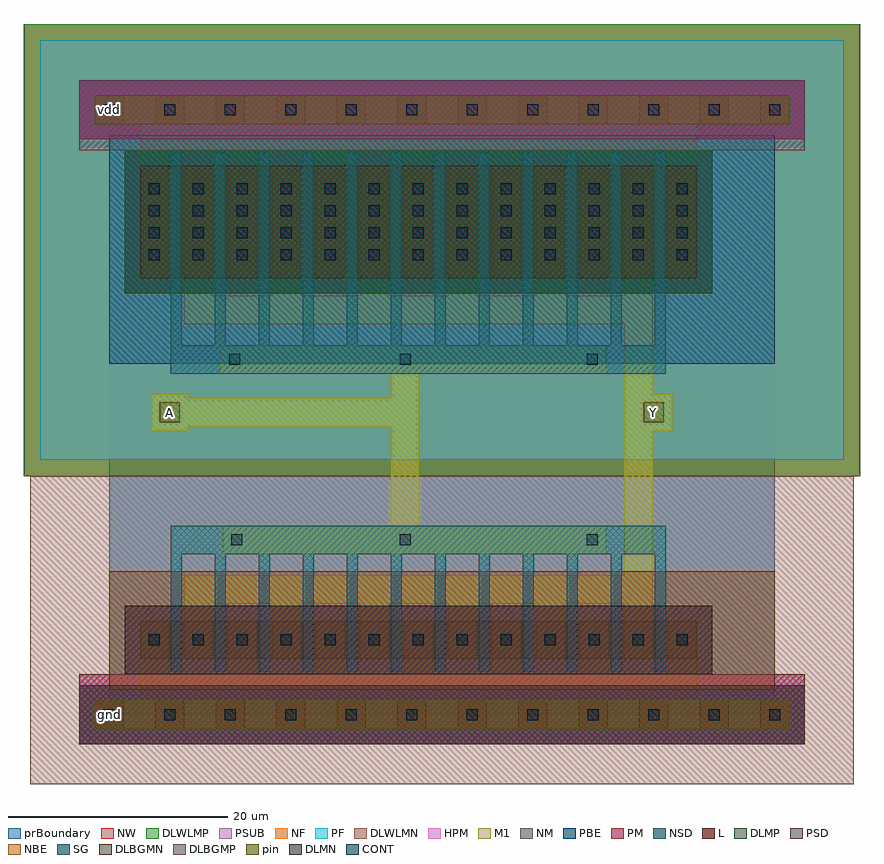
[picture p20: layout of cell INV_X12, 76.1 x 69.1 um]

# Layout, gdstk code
import gdstk
lib = gdstk.Library(unit=1e-6, precision=1e-09)
def R(c, l, rs):  # rectangles x0, y0, x1, y1
    for r in rs: c.add(gdstk.rectangle(r[:2], r[2:], *l))
def A(c, l, x, y, w, h, nx, ny, dx, dy):  # array of equal rectangles
    R(c, l, [(x+i*dx, y+j*dy, x+i*dx+w, y+j*dy+h) for i in range(nx) for j in range(ny)])
def P(c, l, *ps):  # polygons
    for p in ps: c.add(gdstk.Polygon(p, *l))
L = (3, 0)
NM = (7, 0)
SG = (8, 0)
PSD = (9, 0)
CONT = (11, 0)
M1 = (13, 0)
NF = (25, 0)
PF = (26, 0)
NSD = (28, 0)
HPM = (33, 0)
PM = (35, 0)
NW = (36, 0)
pin = (48, 1)
PSUB = (140, 0)
PBE = (146, 0)
NBE = (147, 0)
DLWLMP = (150, 0)
DLWLMN = (151, 0)
DLMP = (157, 0)
DLMN = (158, 0)
DLBGMP = (177, 0)
DLBGMN = (178, 0)
prBoundary = (235, 0)

inv_x12 = lib.new_cell('INV_X12')
A(inv_x12, L, -1.3, -1.3, 2.6, 2.6, 12, 2, 5.5, 55)
R(inv_x12, L, [(2.8,5.1,53.4,8.5), (2.8,39.7,53.4,49.9)])
R(inv_x12, NM, [(-2.75,-2.7,63.25,2.7)])
P(inv_x12, NM, [(1.4,38.3),(1.4,51.3),(-2.75,51.3),(-2.75,57.7),(63.25,57.7),(63.25,51.3),(54.8,51.3),(54.8,38.3)])
P(inv_x12, SG, [(5.6,3.9),(5.6,17.2),(50.6,17.2),(50.6,3.9),(49.6,3.9),(49.6,14.6),(46.6,14.6),(46.6,3.9),(45.6,3.9),(45.6,14.6),(42.6,14.6),(42.6,3.9),(41.6,3.9),(41.6,14.6),(38.6,14.6),(38.6,3.9),(37.6,3.9),(37.6,14.6),(34.6,14.6),(34.6,3.9),(33.6,3.9),(33.6,14.6),(30.6,14.6),(30.6,3.9),(29.6,3.9),(29.6,14.6),(26.6,14.6),(26.6,3.9),(25.6,3.9),(25.6,14.6),(22.6,14.6),(22.6,3.9),(21.6,3.9),(21.6,14.6),(18.6,14.6),(18.6,3.9),(17.6,3.9),(17.6,14.6),(14.6,14.6),(14.6,3.9),(13.6,3.9),(13.6,14.6),(10.6,14.6),(10.6,3.9),(9.6,3.9),(9.6,14.6),(6.6,14.6),(6.6,3.9)],
  [(5.6,31),(5.6,51.1),(6.6,51.1),(6.6,33.6),(9.6,33.6),(9.6,51.1),(10.6,51.1),(10.6,33.6),(13.6,33.6),(13.6,51.1),(14.6,51.1),(14.6,33.6),(17.6,33.6),(17.6,51.1),(18.6,51.1),(18.6,33.6),(21.6,33.6),(21.6,51.1),(22.6,51.1),(22.6,33.6),(25.6,33.6),(25.6,51.1),(26.6,51.1),(26.6,33.6),(29.6,33.6),(29.6,51.1),(30.6,51.1),(30.6,33.6),(33.6,33.6),(33.6,51.1),(34.6,51.1),(34.6,33.6),(37.6,33.6),(37.6,51.1),(38.6,51.1),(38.6,33.6),(41.6,33.6),(41.6,51.1),(42.6,51.1),(42.6,33.6),(45.6,33.6),(45.6,51.1),(46.6,51.1),(46.6,33.6),(49.6,33.6),(49.6,51.1),(50.6,51.1),(50.6,31)])
R(inv_x12, PSD, [(1.4,3.7,54.8,9.9), (-2.75,52.3,63.25,57.7)])
A(inv_x12, CONT, -0.5, -0.5, 1, 1, 12, 2, 5.5, 55)
A(inv_x12, CONT, 3.6, 6.3, 1, 1, 13, 2, 4, 35)
A(inv_x12, CONT, 3.6, 43.3, 1, 1, 13, 3, 4, 2)
R(inv_x12, CONT, [(11.1,15.4,12.1,16.4), (26.4,15.4,27.4,16.4), (43.4,15.4,44.4,16.4), (10.9,31.8,11.9,32.8), (26.4,31.8,27.4,32.8), (43.4,31.8,44.4,32.8)])
P(inv_x12, M1, [(-1.3,-1.3),(-1.3,1.3),(2.8,1.3),(2.8,8.5),(5.4,8.5),(5.4,3.7),(10.8,3.7),(10.8,8.5),(13.4,8.5),(13.4,3.7),(18.8,3.7),(18.8,8.5),(21.4,8.5),(21.4,3.7),(26.8,3.7),(26.8,8.5),(29.4,8.5),(29.4,3.7),(34.8,3.7),(34.8,8.5),(37.4,8.5),(37.4,3.7),(42.8,3.7),(42.8,8.5),(45.4,8.5),(45.4,3.7),(50.8,3.7),(50.8,8.5),(53.4,8.5),(53.4,1.3),(61.8,1.3),(61.8,-1.3)],
  [(10.3,14.6),(10.3,17.2),(25.6,17.2),(25.6,26.2),(7.2,26.2),(7.2,25.8),(3.8,25.8),(3.8,29.2),(7.2,29.2),(7.2,28.8),(25.6,28.8),(25.6,31),(10.1,31),(10.1,33.6),(45.2,33.6),(45.2,31),(28.2,31),(28.2,17.2),(45.2,17.2),(45.2,14.6)],
  [(6.8,5.1),(6.8,12.7),(46.8,12.7),(46.8,35.5),(6.8,35.5),(6.8,49.9),(9.4,49.9),(9.4,38.1),(14.8,38.1),(14.8,49.9),(17.4,49.9),(17.4,38.1),(22.8,38.1),(22.8,49.9),(25.4,49.9),(25.4,38.1),(30.8,38.1),(30.8,49.9),(33.4,49.9),(33.4,38.1),(38.8,38.1),(38.8,49.9),(41.4,49.9),(41.4,38.1),(46.8,38.1),(46.8,49.9),(49.4,49.9),(49.4,29.2),(51.2,29.2),(51.2,25.8),(49.4,25.8),(49.4,5.1),(46.8,5.1),(46.8,10.1),(41.4,10.1),(41.4,5.1),(38.8,5.1),(38.8,10.1),(33.4,10.1),(33.4,5.1),(30.8,5.1),(30.8,10.1),(25.4,10.1),(25.4,5.1),(22.8,5.1),(22.8,10.1),(17.4,10.1),(17.4,5.1),(14.8,5.1),(14.8,10.1),(9.4,10.1),(9.4,5.1)],
  [(2.8,39.7),(2.8,53.7),(-1.3,53.7),(-1.3,56.3),(61.8,56.3),(61.8,53.7),(53.4,53.7),(53.4,39.7),(50.8,39.7),(50.8,51.3),(45.4,51.3),(45.4,39.7),(42.8,39.7),(42.8,51.3),(37.4,51.3),(37.4,39.7),(34.8,39.7),(34.8,51.3),(29.4,51.3),(29.4,39.7),(26.8,39.7),(26.8,51.3),(21.4,51.3),(21.4,39.7),(18.8,39.7),(18.8,51.3),(13.4,51.3),(13.4,39.7),(10.8,39.7),(10.8,51.3),(5.4,51.3),(5.4,39.7)])
R(inv_x12, NF, [(-6.3,23.2,66.8,61.3)])
R(inv_x12, PF, [(-6.3,23.2,66.8,61.3)])
R(inv_x12, NSD, [(-2.75,-2.7,63.25,2.7), (1.4,38.3,54.8,51.3)])
P(inv_x12, HPM, [(-2.75,-2.7),(-2.75,3.7),(1.4,3.7),(1.4,9.9),(54.8,9.9),(54.8,3.7),(63.25,3.7),(63.25,-2.7)],
  [(1.4,38.3),(1.4,51.3),(-2.75,51.3),(-2.75,57.7),(63.25,57.7),(63.25,51.3),(54.8,51.3),(54.8,38.3)])
R(inv_x12, PM, [(-2.75,52.3,63.25,57.7)])
P(inv_x12, PM, [(-2.75,-2.7),(-2.75,3.7),(1.4,3.7),(1.4,9.9),(54.8,9.9),(54.8,3.7),(63.25,3.7),(63.25,-2.7)])
R(inv_x12, NW, [(-7.8,21.7,68.3,62.8)])
R(inv_x12, pin, [(-1.3,-1.3,61.8,1.3), (4.6,26.6,6.4,28.4), (48.6,26.6,50.4,28.4), (-1.3,53.7,61.8,56.3)])
R(inv_x12, PSUB, [(-6.3,23.2,66.8,61.3)])
R(inv_x12, PBE, [(0,31.9,60.5,52.7)])
R(inv_x12, NBE, [(0,2.25,60.5,13.05)])
R(inv_x12, DLWLMP, [(-7.8,21.7,68.3,62.8)])
R(inv_x12, DLWLMN, [(-7.2,-6.3,67.7,21.7)])
R(inv_x12, DLMP, [(1.4,38.3,54.8,51.3)])
R(inv_x12, DLMN, [(1.4,3.7,54.8,9.9)])
R(inv_x12, DLBGMP, [(-2.75,52.3,63.25,57.7)])
R(inv_x12, DLBGMN, [(-2.75,-2.7,63.25,2.7)])
R(inv_x12, prBoundary, [(0,0,60.5,55)])
inv_x12.add(gdstk.Label('Y', (49.5,27.5), layer=48, texttype=0))
inv_x12.add(gdstk.Label('A', (5.5,27.5), layer=48, texttype=0))
inv_x12.add(gdstk.Label('vdd', (0,55), layer=48, texttype=0))
inv_x12.add(gdstk.Label('gnd', (0,0), layer=48, texttype=0))

lib.write_gds('INV_X12.gds')
